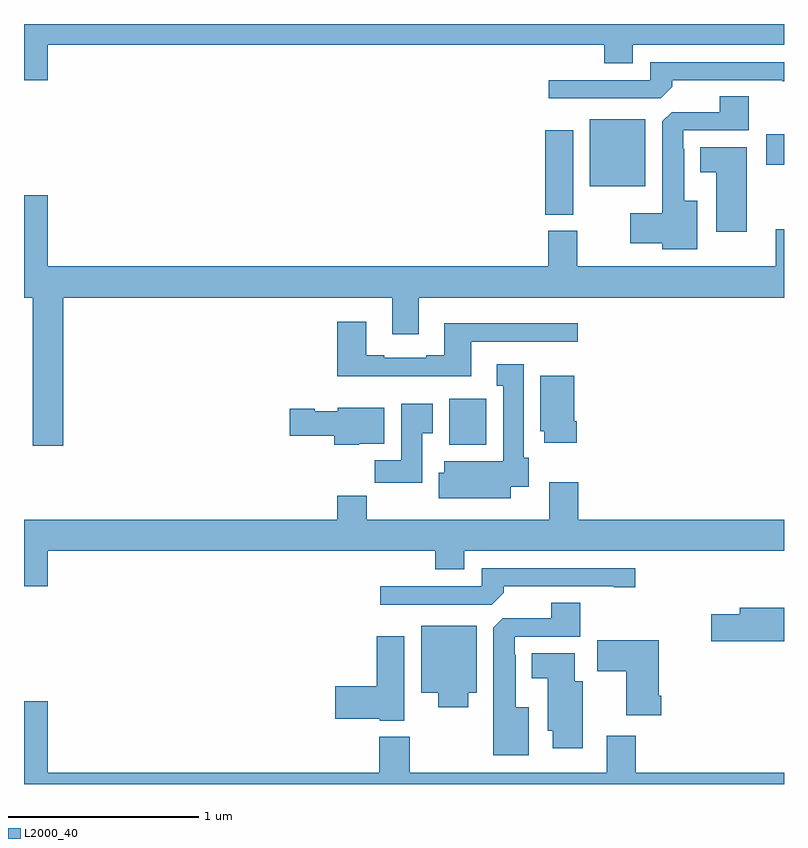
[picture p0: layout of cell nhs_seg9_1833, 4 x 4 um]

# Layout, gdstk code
import gdstk
lib = gdstk.Library(unit=1e-6, precision=1e-09)
def R(c, l, rs):  # rectangles x0, y0, x1, y1
    for r in rs: c.add(gdstk.rectangle(r[:2], r[2:], *l))
def P(c, l, *ps):  # polygons
    for p in ps: c.add(gdstk.Polygon(p, *l))
L2000_40 = (2000, 40)

nhs_seg9_1833 = lib.new_cell('nhs_seg9_1833')
R(nhs_seg9_1833, L2000_40, [(215.237,1222.286,215.434,1222.528), (215.744,1223.497,215.89,1223.941), (215.978,1223.645,216.271,1223.998), (216.906,1223.758,217,1223.92)])
P(nhs_seg9_1833, L2000_40, [(213.124,1224.392),(216.053,1224.392),(216.053,1224.293),(216.205,1224.293),(216.205,1224.392),(217,1224.392),(217,1224.5),(213,1224.5),(213,1224.204),(213.124,1224.204)],
  [(216.413,1224.17),(216.413,1224.204),(216.992,1224.204),(216.992,1224.199),(217,1224.199),(217,1224.3),(216.297,1224.3),(216.297,1224.204),(215.763,1224.204),(215.763,1224.108),(216.351,1224.108)],
  [(216.544,1223.569),(216.475,1223.569),(216.475,1223.843),(216.471,1223.843),(216.471,1223.94),(216.815,1223.94),(216.815,1224.119),(216.662,1224.119),(216.662,1224.036),(216.408,1224.036),(216.359,1223.987),(216.359,1223.503),(216.192,1223.503),(216.192,1223.345),(216.359,1223.345),(216.359,1223.315),(216.544,1223.315)],
  [(216.805,1223.851),(216.56,1223.851),(216.56,1223.72),(216.644,1223.72),(216.644,1223.406),(216.805,1223.406)],
  [(213.206,1223.06),(214.937,1223.06),(214.937,1222.866),(215.077,1222.866),(215.077,1223.06),(217,1223.06),(217,1223.419),(216.956,1223.419),(216.956,1223.224),(215.911,1223.224),(215.911,1223.412),(215.759,1223.412),(215.759,1223.224),(213.124,1223.224),(213.124,1223.599),(213,1223.599),(213,1223.06),(213.046,1223.06),(213.046,1222.281),(213.206,1222.281)],
  [(215.353,1222.827),(215.914,1222.827),(215.914,1222.924),(215.213,1222.924),(215.213,1222.756),(215.117,1222.756),(215.117,1222.743),(214.897,1222.743),(214.897,1222.756),(214.801,1222.756),(214.801,1222.933),(214.649,1222.933),(214.649,1222.646),(215.353,1222.646)],
  [(215.563,1222.064),(215.656,1222.064),(215.656,1222.218),(215.629,1222.218),(215.629,1222.708),(215.489,1222.708),(215.489,1222.595),(215.522,1222.595),(215.522,1222.198),(215.213,1222.198),(215.213,1222.139),(215.183,1222.139),(215.183,1222.004),(215.563,1222.004)],
  [(215.909,1222.408),(215.896,1222.408),(215.896,1222.648),(215.717,1222.648),(215.717,1222.356),(215.738,1222.356),(215.738,1222.296),(215.909,1222.296)],
  [(215.095,1222.345),(215.152,1222.345),(215.152,1222.501),(214.985,1222.501),(214.985,1222.204),(214.846,1222.204),(214.846,1222.086),(215.095,1222.086)],
  [(214.764,1222.292),(214.897,1222.292),(214.897,1222.48),(214.65,1222.48),(214.65,1222.462),(214.53,1222.462),(214.53,1222.475),(214.398,1222.475),(214.398,1222.333),(214.634,1222.333),(214.634,1222.286),(214.764,1222.286)],
  [(213.124,1221.728),(215.165,1221.728),(215.165,1221.629),(215.317,1221.629),(215.317,1221.728),(217,1221.728),(217,1221.892),(215.918,1221.892),(215.918,1222.087),(215.765,1222.087),(215.765,1221.892),(214.805,1221.892),(214.805,1222.016),(214.649,1222.016),(214.649,1221.892),(213,1221.892),(213,1221.54),(213.124,1221.54)],
  [(215.525,1221.506),(215.525,1221.54),(216.104,1221.54),(216.104,1221.535),(216.217,1221.535),(216.217,1221.636),(215.409,1221.636),(215.409,1221.54),(214.875,1221.54),(214.875,1221.444),(215.463,1221.444)],
  [(215.656,1220.905),(215.587,1220.905),(215.587,1221.179),(215.583,1221.179),(215.583,1221.276),(215.927,1221.276),(215.927,1221.455),(215.774,1221.455),(215.774,1221.372),(215.52,1221.372),(215.471,1221.323),(215.471,1220.651),(215.656,1220.651)],
  [(217,1221.427),(216.767,1221.427),(216.767,1221.393),(216.618,1221.393),(216.618,1221.251),(217,1221.251)],
  [(215.338,1220.981),(215.383,1220.981),(215.383,1221.334),(215.09,1221.334),(215.09,1220.981),(215.18,1220.981),(215.18,1220.903),(215.338,1220.903)],
  [(215.002,1221.277),(214.856,1221.277),(214.856,1221.014),(214.638,1221.014),(214.638,1220.843),(214.872,1220.843),(214.872,1220.834),(215.002,1220.834)],
  [(216.353,1220.965),(216.34,1220.965),(216.34,1221.256),(216.018,1221.256),(216.018,1221.094),(216.17,1221.094),(216.17,1220.861),(216.353,1220.861)],
  [(215.941,1221.04),(215.899,1221.04),(215.899,1221.187),(215.672,1221.187),(215.672,1221.056),(215.756,1221.056),(215.756,1220.781),(215.783,1220.781),(215.783,1220.688),(215.941,1220.688)],
  [(217,1220.56),(216.221,1220.56),(216.221,1220.755),(216.068,1220.755),(216.068,1220.56),(215.031,1220.56),(215.031,1220.749),(214.871,1220.749),(214.871,1220.56),(213.124,1220.56),(213.124,1220.935),(213,1220.935),(213,1220.5),(217,1220.5)])

lib.write_gds('nhs_seg9_1833.gds')
